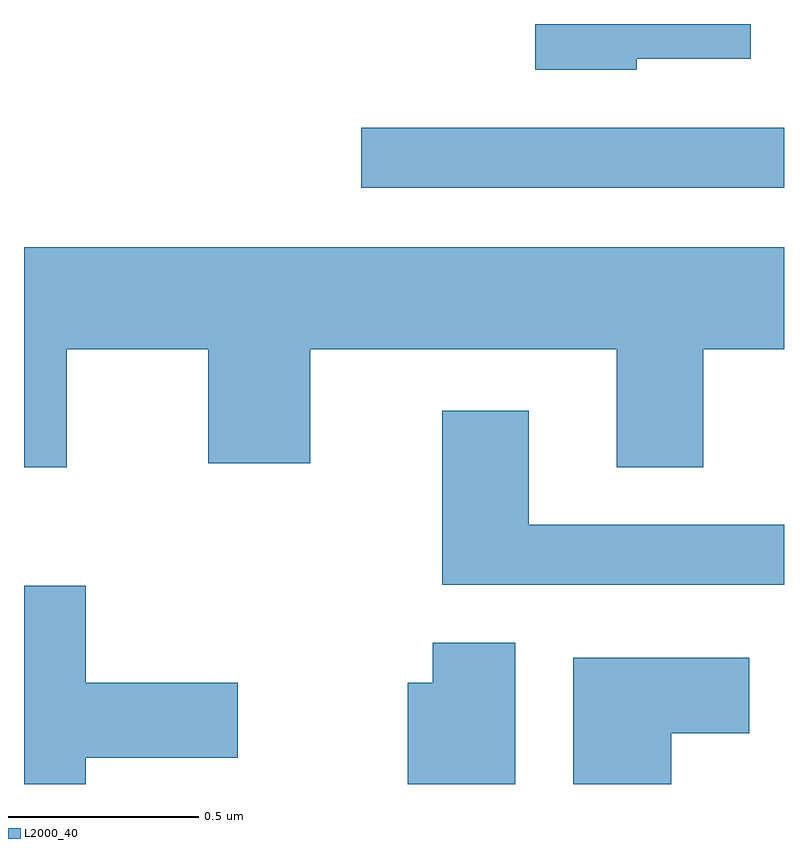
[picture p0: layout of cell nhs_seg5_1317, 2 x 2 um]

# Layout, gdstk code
import gdstk
lib = gdstk.Library(unit=1e-6, precision=1e-09)
def R(c, l, rs):  # rectangles x0, y0, x1, y1
    for r in rs: c.add(gdstk.rectangle(r[:2], r[2:], *l))
def P(c, l, *ps):  # polygons
    for p in ps: c.add(gdstk.Polygon(p, *l))
L2000_40 = (2000, 40)

nhs_seg5_1317 = lib.new_cell('nhs_seg5_1317')
R(nhs_seg5_1317, L2000_40, [(195.498,1481.641,196.611,1481.799)])
P(nhs_seg5_1317, L2000_40, [(196.224,1481.981),(196.524,1481.981),(196.524,1482.072),(195.956,1482.072),(195.956,1481.951),(196.224,1481.951)],
  [(194.724,1481.216),(195.096,1481.216),(195.096,1480.916),(195.364,1480.916),(195.364,1481.216),(196.171,1481.216),(196.171,1480.906),(196.399,1480.906),(196.399,1481.216),(196.611,1481.216),(196.611,1481.484),(194.611,1481.484),(194.611,1480.906),(194.724,1480.906)],
  [(196.611,1480.754),(195.939,1480.754),(195.939,1481.054),(195.711,1481.054),(195.711,1480.596),(196.611,1480.596)],
  [(194.774,1480.141),(195.174,1480.141),(195.174,1480.339),(194.774,1480.339),(194.774,1480.594),(194.611,1480.594),(194.611,1480.072),(194.774,1480.072)],
  [(195.904,1480.444),(195.686,1480.444),(195.686,1480.339),(195.621,1480.339),(195.621,1480.072),(195.904,1480.072)],
  [(196.314,1480.206),(196.519,1480.206),(196.519,1480.404),(196.056,1480.404),(196.056,1480.072),(196.314,1480.072)])

lib.write_gds('nhs_seg5_1317.gds')
